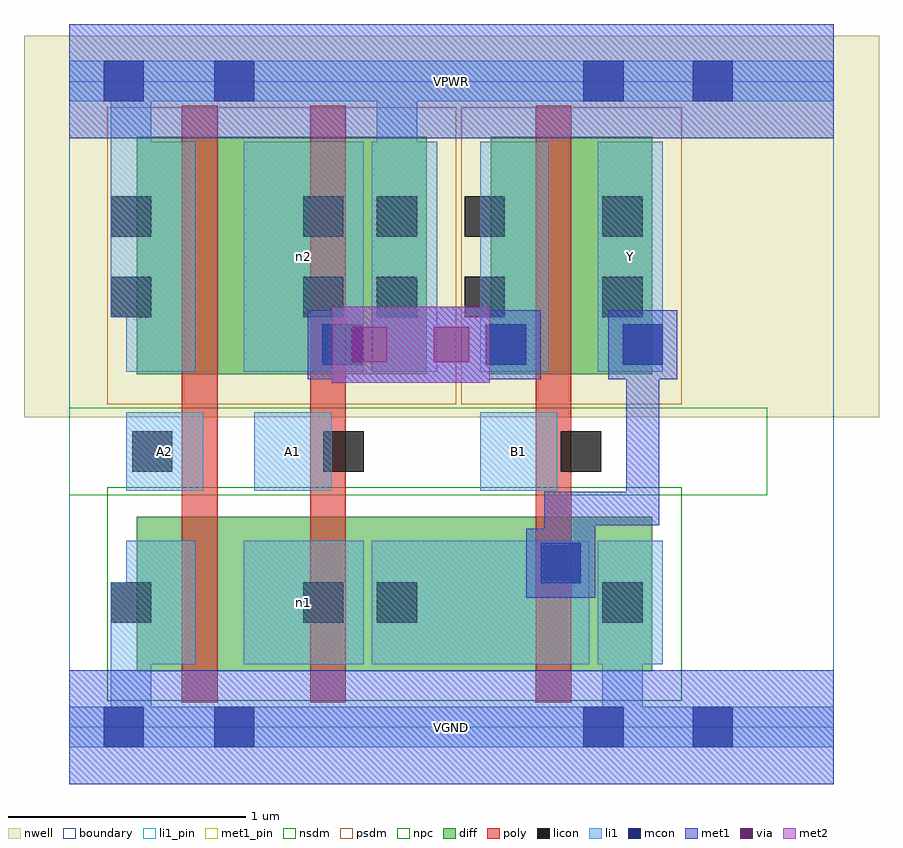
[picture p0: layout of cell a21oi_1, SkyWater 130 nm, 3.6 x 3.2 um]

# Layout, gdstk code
import gdstk
lib = gdstk.Library(unit=1e-6, precision=1e-09)
def R(c, l, rs):  # rectangles x0, y0, x1, y1
    for r in rs: c.add(gdstk.rectangle(r[:2], r[2:], *l))
nwell = (64, 20)
diff = (65, 20)
poly = (66, 20)
licon = (66, 44)
li1_pin = (67, 16)
li1 = (67, 20)
mcon = (67, 44)
met1_pin = (68, 16)
met1 = (68, 20)
via = (68, 44)
met2 = (69, 20)
nsdm = (93, 44)
psdm = (94, 20)
npc = (95, 20)
boundary = (235, 4)

a21oi_1 = lib.new_cell('a21oi_1')
R(a21oi_1, nwell, [(-0.19,1.305,3.41,2.91), (0,1.305,3.22,2.91)])
R(a21oi_1, diff, [(0.285,0.235,2.455,0.885), (0.285,1.485,1.505,2.485), (1.775,1.485,2.455,2.485)])
R(a21oi_1, poly, [(0.475,0.105,0.625,2.615), (1.015,0.105,1.165,2.615), (1.965,0.105,2.115,2.615)])
R(a21oi_1, licon, [(0.175,0.44,0.345,0.61), (0.985,0.44,1.155,0.61), (1.295,0.44,1.465,0.61), (2.245,0.44,2.415,0.61), (0.265,1.075,0.435,1.245), (1.07,1.075,1.24,1.245), (2.07,1.075,2.24,1.245), (0.175,1.725,0.345,1.895), (0.985,1.725,1.155,1.895), (1.295,1.725,1.465,1.895), (1.665,1.725,1.835,1.895), (2.245,1.725,2.415,1.895), (0.175,2.065,0.345,2.235), (0.985,2.065,1.155,2.235), (1.295,2.065,1.465,2.235), (1.665,2.065,1.835,2.235), (2.245,2.065,2.415,2.235)])
R(a21oi_1, li1_pin, [(0.24,0.995,0.565,1.325), (0.78,0.995,1.105,1.325), (1.73,0.995,2.055,1.325), (2.225,1.495,2.5,2.465)])
R(a21oi_1, li1, [(0,-0.085,3.22,0.085), (0.175,-0.085,0.345,0.61), (2.245,-0.085,2.415,0.61), (0.24,0.265,0.53,0.785), (0.735,0.265,1.24,0.785), (1.275,0.265,2.19,0.785), (2.225,0.265,2.5,0.785), (0.24,0.995,0.565,1.325), (0.78,0.995,1.105,1.325), (1.73,0.995,2.055,1.325), (0.24,1.495,0.53,2.465), (0.735,1.495,1.24,2.465), (1.275,1.495,1.55,2.465), (1.73,1.495,2.02,2.465), (2.225,1.495,2.5,2.465), (0.175,1.725,0.345,2.805), (1.295,1.725,1.465,2.805), (0,2.635,3.22,2.805)])
R(a21oi_1, mcon, [(0.145,-0.085,0.315,0.085), (0.61,-0.085,0.78,0.085), (2.165,-0.085,2.335,0.085), (2.625,-0.085,2.795,0.085), (1.985,0.605,2.155,0.775), (1.065,1.525,1.235,1.695), (1.755,1.525,1.925,1.695), (2.33,1.525,2.5,1.695), (0.145,2.635,0.315,2.805), (0.61,2.635,0.78,2.805), (2.165,2.635,2.335,2.805), (2.625,2.635,2.795,2.805)])
R(a21oi_1, met1_pin, [(0,-0.24,3.22,0.24), (0,2.48,3.22,2.96)])
R(a21oi_1, met1, [(0,-0.24,3.22,0.24), (1.925,0.545,2.215,0.835), (2,0.62,2.14,0.99), (2,0.835,2.215,0.85), (2,0.85,2.485,0.99), (2.345,0.85,2.485,1.68), (1.105,1.45,1.425,1.77), (1.425,1.45,1.45,1.77), (1.45,1.45,1.77,1.77), (1.005,1.465,1.295,1.755), (1.695,1.465,1.985,1.755), (2.27,1.465,2.56,1.755), (1.08,1.54,1.335,1.68), (1.335,1.54,1.45,1.68), (1.425,1.54,1.54,1.68), (1.54,1.54,1.91,1.68), (0,2.48,3.22,2.96)])
R(a21oi_1, via, [(1.19,1.535,1.34,1.685), (1.535,1.535,1.685,1.685)])
R(a21oi_1, met2, [(1.105,1.45,1.425,1.77), (1.425,1.45,1.45,1.77), (1.45,1.45,1.77,1.77), (1.195,1.54,1.68,1.68)])
R(a21oi_1, nsdm, [(0.16,0.11,2.58,1.01)])
R(a21oi_1, psdm, [(0.16,1.36,1.63,2.61), (1.65,1.36,2.58,2.61)])
R(a21oi_1, npc, [(0,0.975,2.94,1.345)])
R(a21oi_1, boundary, [(0,0,3.22,2.72)])
a21oi_1.add(gdstk.Label('A1', (0.942,1.16), layer=67, texttype=5))
a21oi_1.add(gdstk.Label('A2', (0.402,1.16), layer=67, texttype=5))
a21oi_1.add(gdstk.Label('B1', (1.892,1.16), layer=67, texttype=5))
a21oi_1.add(gdstk.Label('Y', (2.362,1.98), layer=67, texttype=5))
a21oi_1.add(gdstk.Label('n1', (0.987,0.525), layer=67, texttype=5))
a21oi_1.add(gdstk.Label('n2', (0.987,1.98), layer=67, texttype=5))
a21oi_1.add(gdstk.Label('VPWR', (1.61,2.72), layer=68, texttype=5))
a21oi_1.add(gdstk.Label('VGND', (1.61,0), layer=68, texttype=5))
a21oi_1.add(gdstk.Label('A1', (0.942,1.16), layer=67, texttype=16))
a21oi_1.add(gdstk.Label('A2', (0.402,1.16), layer=67, texttype=16))
a21oi_1.add(gdstk.Label('B1', (1.892,1.16), layer=67, texttype=16))
a21oi_1.add(gdstk.Label('Y', (2.362,1.98), layer=67, texttype=16))
a21oi_1.add(gdstk.Label('VPWR', (1.61,2.72), layer=68, texttype=16))
a21oi_1.add(gdstk.Label('VGND', (1.61,0), layer=68, texttype=16))

lib.write_gds('a21oi_1.gds')
